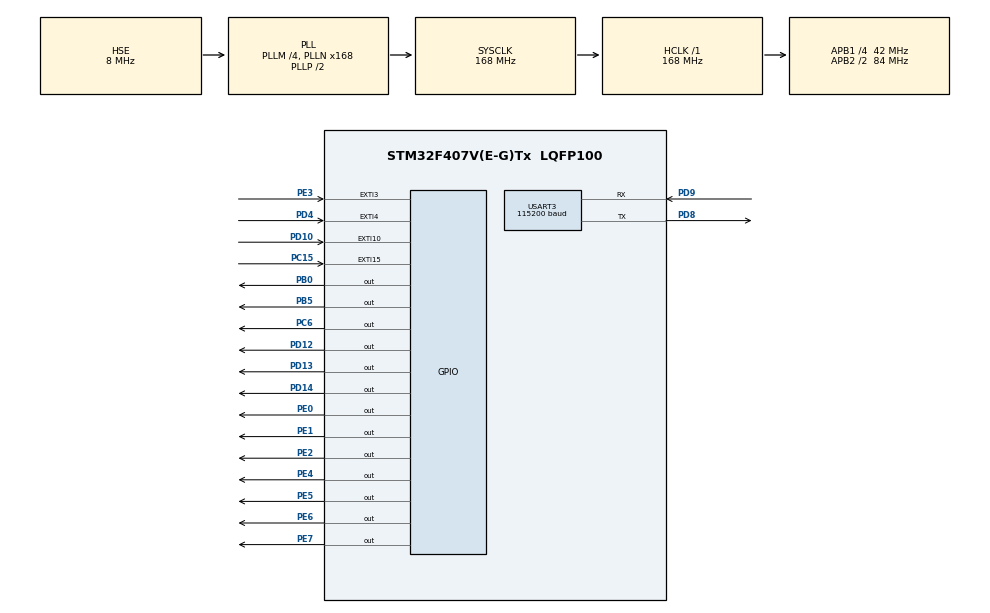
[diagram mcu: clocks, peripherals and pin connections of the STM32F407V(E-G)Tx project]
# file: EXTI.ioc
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Mcu.Family=STM32F4
Mcu.Name=STM32F407V(E-G)Tx
Mcu.Package=LQFP100
NVIC.EXTI15_10_IRQn=true\:0\:0\:false\:false\:true\:true\:true
NVIC.EXTI3_IRQn=true\:0\:0\:false\:false\:true\:true\:true
NVIC.EXTI4_IRQn=true\:0\:0\:false\:false\:true\:true\:true
NVIC.PriorityGroup=NVIC_PRIORITYGROUP_4
NVIC.TIM7_IRQn=true\:0\:0\:false\:false\:true\:true\:true
NVIC.USART3_IRQn=true\:0\:0\:false\:false\:true\:true\:true
PB0.Signal=GPIO_Output
PB5.Signal=GPIO_Output
PC15-OSC32_OUT.Signal=GPXTI15
PC6.Signal=GPIO_Output
PD10.Signal=GPXTI10
PD12.Signal=GPIO_Output
PD13.Signal=GPIO_Output
PD14.Signal=GPIO_Output
PD4.Signal=GPXTI4
PD8.Mode=Asynchronous
PD8.Signal=USART3_TX
PD9.Mode=Asynchronous
PD9.Signal=USART3_RX
PE0.Signal=GPIO_Output
PE1.Signal=GPIO_Output
PE2.Signal=GPIO_Output
PE3.Signal=GPXTI3
PE4.Signal=GPIO_Output
PE5.Signal=GPIO_Output
PE6.Signal=GPIO_Output
PE7.Signal=GPIO_Output
PH0-OSC_IN.Mode=HSE-External-Oscillator
PH0-OSC_IN.Signal=RCC_OSC_IN
PH1-OSC_OUT.Mode=HSE-External-Oscillator
PH1-OSC_OUT.Signal=RCC_OSC_OUT
ProjectManager.HeapSize=0x200
ProjectManager.StackSize=0x400
ProjectManager.TargetToolchain=TrueSTUDIO
RCC.48MHZClocksFreq_Value=84000000
RCC.AHBFreq_Value=168000000
RCC.APB1CLKDivider=RCC_HCLK_DIV4
RCC.APB1Freq_Value=42000000
RCC.APB1TimFreq_Value=84000000
RCC.APB2CLKDivider=RCC_HCLK_DIV2
RCC.APB2Freq_Value=84000000
RCC.APB2TimFreq_Value=168000000
RCC.CortexFreq_Value=168000000
RCC.HCLKFreq_Value=168000000
RCC.HSE_VALUE=8000000
RCC.HSI_VALUE=16000000
RCC.LSE_VALUE=32768
RCC.PLLM=4
RCC.PLLN=168
RCC.PLLSourceVirtual=RCC_PLLSOURCE_HSE
RCC.SYSCLKFreq_VALUE=168000000
RCC.SYSCLKSource=RCC_SYSCLKSOURCE_PLLCLK
RCC.VCOOutputFreq_Value=336000000
TIM7.AutoReloadPreload=TIM_AUTORELOAD_PRELOAD_ENABLE
TIM7.Period=8399
TIM7.Prescaler=9999
USART3.BaudRate=115200
USART3.VirtualMode=VM_ASYNC
VP_TIM7_VS_ClockSourceINT.Mode=Enable_Timer
board=custom

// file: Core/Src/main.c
/* USER CODE BEGIN Header */
/**
  ******************************************************************************
  * @file           : main.c
  * @brief          : Main program body
  ******************************************************************************
  * @attention
  *
  * <h2><center>&copy; Copyright (c) 2020 STMicroelectronics.
  * All rights reserved.</center></h2>
  *
  * This software component is licensed by ST under BSD 3-Clause license,
  * the "License"; You may not use this file except in compliance with the
  * License. You may obtain a copy of the License at:
  *                        opensource.org/licenses/BSD-3-Clause
  *
  ******************************************************************************
  */
/* USER CODE END Header */
#include "main.h"
#include "tim.h"
#include "usart.h"
#include "gpio.h"

/* USER CODE BEGIN Includes */
#include	"7SEG.h"
#include	"clcd.h"
#include	"init.h"
#include	"util.h"
/* USER CODE END Includes */

void SystemClock_Config(void);

int main(void)
{

  /* MCU Configuration--------------------------------------------------------*/

  /* Reset of all peripherals, Initializes the Flash interface and the Systick. */
  HAL_Init();

  /* Configure the system clock */
  SystemClock_Config();

  /* Initialize all configured peripherals */
  MX_GPIO_Init();
  MX_USART3_UART_Init();
  MX_TIM7_Init();
  /* USER CODE BEGIN 2 */
  my_init();
  CLCD_Init();
  /* USER CODE END 2 */

  /* Infinite loop */
  while (1)
  {

  }
}

void SystemClock_Config(void)
{
  RCC_OscInitTypeDef RCC_OscInitStruct = {0};
  RCC_ClkInitTypeDef RCC_ClkInitStruct = {0};

  /** Configure the main internal regulator output voltage
  */
  __HAL_RCC_PWR_CLK_ENABLE();
  __HAL_PWR_VOLTAGESCALING_CONFIG(PWR_REGULATOR_VOLTAGE_SCALE1);
  /** Initializes the RCC Oscillators according to the specified parameters
  * in the RCC_OscInitTypeDef structure.
  */
  RCC_OscInitStruct.OscillatorType = RCC_OSCILLATORTYPE_HSE;
  RCC_OscInitStruct.HSEState = RCC_HSE_ON;
  RCC_OscInitStruct.PLL.PLLState = RCC_PLL_ON;
  RCC_OscInitStruct.PLL.PLLSource = RCC_PLLSOURCE_HSE;
  RCC_OscInitStruct.PLL.PLLM = 4;
  RCC_OscInitStruct.PLL.PLLN = 168;
  RCC_OscInitStruct.PLL.PLLP = RCC_PLLP_DIV2;
  RCC_OscInitStruct.PLL.PLLQ = 4;
  if (HAL_RCC_OscConfig(&RCC_OscInitStruct) != HAL_OK)
  {
    Error_Handler();
  }
  /** Initializes the CPU, AHB and APB buses clocks
  */
  RCC_ClkInitStruct.ClockType = RCC_CLOCKTYPE_HCLK|RCC_CLOCKTYPE_SYSCLK
                              |RCC_CLOCKTYPE_PCLK1|RCC_CLOCKTYPE_PCLK2;
  RCC_ClkInitStruct.SYSCLKSource = RCC_SYSCLKSOURCE_PLLCLK;
  RCC_ClkInitStruct.AHBCLKDivider = RCC_SYSCLK_DIV1;
  RCC_ClkInitStruct.APB1CLKDivider = RCC_HCLK_DIV4;
  RCC_ClkInitStruct.APB2CLKDivider = RCC_HCLK_DIV2;

  if (HAL_RCC_ClockConfig(&RCC_ClkInitStruct, FLASH_LATENCY_5) != HAL_OK)
  {
    Error_Handler();
  }
}

/* USER CODE BEGIN 4 */
void	HAL_GPIO_EXTI_Callback(uint16_t GPIO_Pin)
{
	switch(GPIO_Pin)
	{
		case	GPIO_PIN_3:		// SW1
			HAL_GPIO_TogglePin(GPIOD,GPIO_PIN_12);
			break;
		case	GPIO_PIN_15:	// SW2
			HAL_GPIO_TogglePin(GPIOD,GPIO_PIN_13);
			break;
		case	GPIO_PIN_4:		// SW1
			HAL_GPIO_TogglePin(GPIOD,GPIO_PIN_14);
			break;
		case	GPIO_PIN_10:	// SW1
			HAL_GPIO_TogglePin(GPIOC,GPIO_PIN_6);
			break;
		default:
			// do nothing
			break;
	}
}
/* USER CODE END 4 */

void Error_Handler(void)
{
}

/************************ (C) COPYRIGHT STMicroelectronics *****END OF FILE****/
